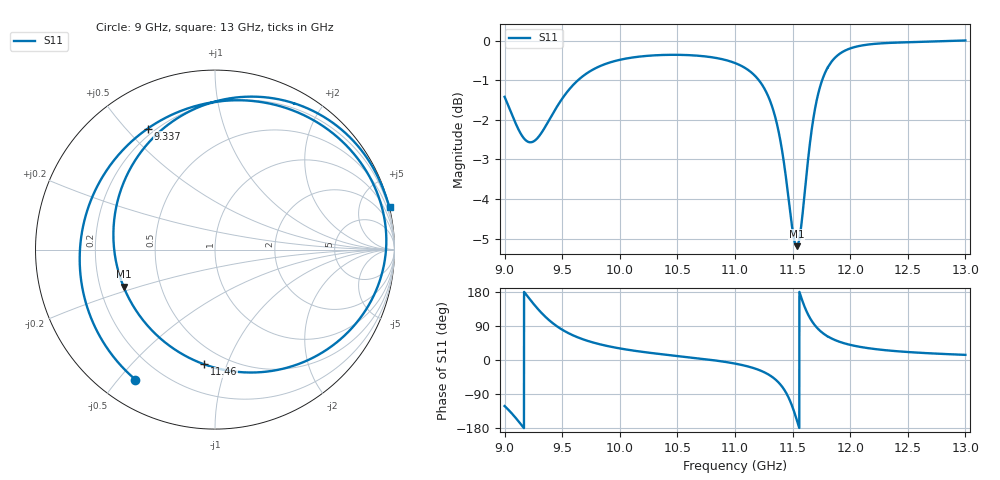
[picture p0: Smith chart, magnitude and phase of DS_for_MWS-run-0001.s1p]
! TOUCHSTONE file generated by CST DESIGN STUDIO
! Date and time: Tue Feb  4 15:38:43 2025
! Project name: C:\Work\MatlabApps\UnitCellOptimizationMatlab\CST\unitcell.cst
! Tree item: Tasks\Sweep1\SPara1\S-Parameters
! Header version: 2024
! Port assignment regex: !\s*Touchstone port\s*([0-9]+)\s*=\s*(CST MWS port|CST DES external port|CST DES block port)\s*(.+)\s* \(\"(.*)\"\)(\s*mode\s*([0-9]+))?.*
! Touchstone port assignment:
! Touchstone port 1 = CST DES external port 1 ("")
# GHz S MA R 50
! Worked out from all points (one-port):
!   4001 points, 9 GHz to 13 GHz, reference 50 ohm
!   lowest |S11| = -5.2 dB at 11.54 GHz (marker M1), VSWR 3.44, Z = 15 - j8.91 ohm
!   |S11| at or under -10 dB: nowhere
!   S11 on the Smith chart (normalised r, x): 9 GHz: 0.11, -0.56; 9.337 GHz: 0.17, +0.58; 11.46 GHz: 0.38, -0.84; 13 GHz: -0.02, +8.41
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9  0.8491 -121.5
9.096  0.786 -152.7
9.167  0.7527 -179.5
9.242  0.7448 151.5
9.337  0.7715 119.1
9.412  0.8056 98.6
9.5  0.8447 80.0
9.603  0.8815 63.9
9.716  0.9098 50.9
10  0.9457 30.5
10.5  0.9596 10.5
11  0.937 -9.5
11.17  0.9038 -22.2
11.288  0.8507 -37.8
11.377  0.7696 -58.9
11.459  0.6422 -95.3
11.5  0.5756 -124.9
11.536  0.5499 -157.9
11.566  0.5702 173.1
11.597  0.6251 146.0
11.643  0.7263 115.0
11.692  0.8162 92.2
11.754  0.8892 73.0
11.82  0.9326 59.7
12  0.9776 40.0
12.197  0.9902 29.6
12.5  0.9953 21.0
13  1.001 13.6
